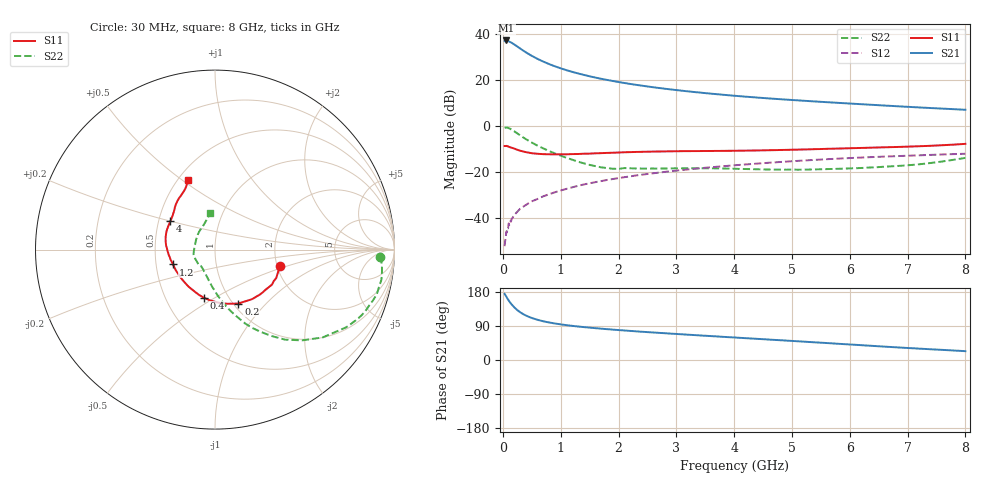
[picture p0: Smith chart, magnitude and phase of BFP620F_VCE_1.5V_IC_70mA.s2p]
! Infineon Technologies  Discrete & RF Semiconductors
! BFP620F
! VCE =  1.5 V,  IC =  70 mA
! Common Emitter S-Parameters:  Dec 2014
# GHz  S  MA  R  50
!  f  S11  S21  S12  S22
! GHz  MAG  ANG  MAG  ANG  MAG  ANG  MAG  ANG
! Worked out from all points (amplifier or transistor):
!   95 points, 30 MHz to 8 GHz, reference 50 ohm
!   highest |S21| = 37.3 dB at 60 MHz (marker M1)
!   |S21| within 3 dB of that: start of sweep to 270.4 MHz
!   unconditionally stable (mu >= 1): 1.632 GHz to end of sweep
!   at 300 MHz: K = 0.57, MSG = 34.8 dB, |S12| = -35.8 dB
!   at 3.3 GHz: K = 1.03, MAG = 15.6 dB, |S12| = -18.5 dB
!   at 8 GHz: K = 1.05, MAG = 8.1 dB, |S12| = -11.9 dB
!   S11 on the Smith chart (normalised r, x): 30 MHz: 2.07, -0.45; 200 MHz: 1.05, -0.71; 400 MHz: 0.77, -0.45; 1.2 GHz: 0.61, -0.11; 4 GHz: 0.58, +0.20; 8 GHz: 0.56, +0.52
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0.03  0.3732 -14.4  70.92 174.6  0.0025 106.6  0.9216 -2.4
0.06  0.3762 -24.9  73.12 167.0  0.0052 90.0  0.9422 -10.3
0.09  0.3656 -34.9  71.47 159.5  0.0061 84.7  0.9242 -17.9
0.13  0.3489 -48.4  67.1 150.8  0.0087 79.9  0.8776 -26.7
0.15  0.3438 -53.7  65.3 147.0  0.0096 78.9  0.8499 -30.6
0.2  0.3273 -66.6  59.48 138.5  0.012 75.8  0.7742 -39.2
0.25  0.3094 -77.3  53.92 131.6  0.014 72.7  0.7018 -46.1
0.3  0.2956 -86.9  48.79 125.9  0.0163 71.9  0.6357 -52.1
0.4  0.2746 -103.1  40.26 117.2  0.0197 71.0  0.5249 -60.9
0.5  0.2605 -115.3  33.88 110.9  0.0235 70.3  0.4446 -67.8
0.6  0.2535 -125.7  29.07 106.0  0.0265 70.8  0.3795 -73.2
0.7  0.2486 -133.8  25.37 102.1  0.0303 70.3  0.331 -78.1
0.9  0.2456 -146.8  20.08 96.3  0.037 70.4  0.258 -86.4
1.2  0.2496 -160.6  15.21 90.1  0.0474 70.0  0.1885 -98.2
1.4  0.2542 -167.5  13.07 86.8  0.0547 69.3  0.1571 -106.7
1.9  0.2669 179.5  9.642 80.2  0.0717 67.3  0.1202 -130.3
2.7  0.2842 165.1  6.796 71.6  0.0989 62.7  0.1209 -153.4
4  0.2944 147.7  4.615 59.5  0.1423 54.3  0.12 -172.0
4.1  0.2957 146.6  4.508 58.5  0.1455 53.6  0.1189 -173.6
5.4  0.3192 135.0  3.464 46.6  0.187 44.2  0.1162 159.3
6.7  0.3528 123.5  2.781 34.4  0.2225 34.1  0.1349 129.5
8  0.4159 111.5  2.29 23.3  0.2539 24.5  0.2063 98.0
